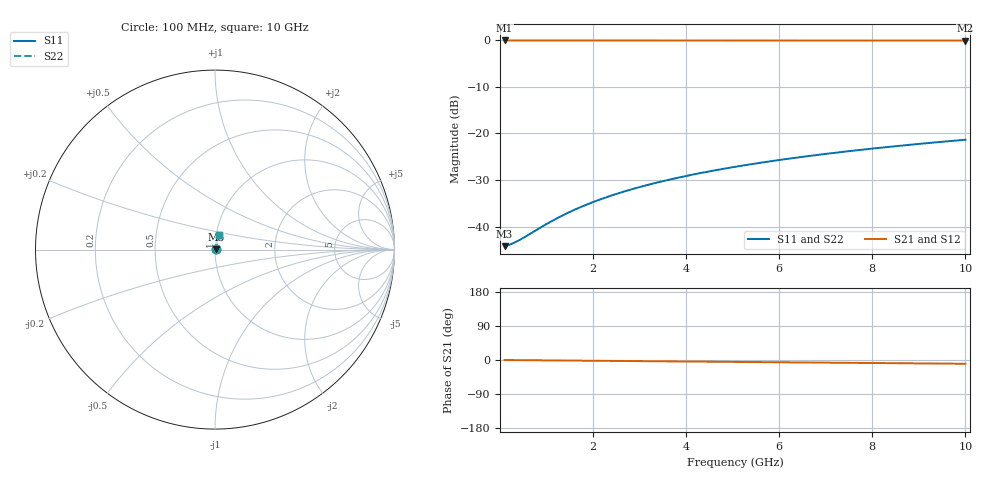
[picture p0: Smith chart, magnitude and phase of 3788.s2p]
# Hz S RI R 50.00
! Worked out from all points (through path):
!   100 points, 100 MHz to 10 GHz, reference 50 ohm
!   highest |S21| = -0.05 dB at 100 MHz (marker M1); lowest = -0.1 dB at 10 GHz (marker M2)
!   group delay of S21, straight-line fit = 2.75 ps
!   lowest |S11| = -44.2 dB at 100 MHz (marker M3), VSWR 1.01, Z = 50.6 + j0.0859 ohm
!   |S11| at or under -10 dB: start of sweep to end of sweep
!   |S22| runs from -44.2 to -21.4 dB; largest |S21 - S12| = 0
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1e8  0.00611 0.000848  0.9939 -0.00172  0.9939 -0.00172  0.00611 0.000848
2e8  0.00615 0.0017  0.9938 -0.00345  0.9938 -0.00345  0.00615 0.0017
3e8  0.00619 0.00254  0.9938 -0.00517  0.9938 -0.00517  0.00619 0.00254
4e8  0.00622 0.00339  0.9938 -0.00689  0.9938 -0.00689  0.00622 0.00339
1e9  0.00644 0.00848  0.9935 -0.0172  0.9935 -0.0172  0.00644 0.00848
1.2e9  0.00652 0.0102  0.9934 -0.0207  0.9934 -0.0207  0.00652 0.0102
1.5e9  0.00667 0.0127  0.9932 -0.0258  0.9932 -0.0258  0.00667 0.0127
1.8e9  0.00685 0.0152  0.993 -0.031  0.993 -0.031  0.00685 0.0152
2.1e9  0.00704 0.0178  0.9928 -0.0362  0.9928 -0.0362  0.00704 0.0178
2.5e9  0.00734 0.0212  0.9924 -0.043  0.9924 -0.043  0.00734 0.0212
2.9e9  0.00768 0.0245  0.992 -0.0499  0.992 -0.0499  0.00768 0.0245
3.4e9  0.00818 0.0287  0.9914 -0.0585  0.9914 -0.0585  0.00818 0.0287
3.8e9  0.00862 0.0321  0.9908 -0.0654  0.9908 -0.0654  0.00862 0.0321
4.2e9  0.00911 0.0354  0.9902 -0.0722  0.9902 -0.0722  0.00911 0.0354
4.6e9  0.00965 0.0388  0.9895 -0.079  0.9895 -0.079  0.00965 0.0388
5.1e9  0.0104 0.0429  0.9886 -0.0876  0.9886 -0.0876  0.0104 0.0429
5.9e9  0.0117 0.0496  0.9869 -0.1012  0.9869 -0.1012  0.0117 0.0496
6.7e9  0.0132 0.0562  0.985 -0.1148  0.985 -0.1148  0.0132 0.0562
7.5e9  0.0149 0.0627  0.9829 -0.1284  0.9829 -0.1284  0.0149 0.0627
8.4e9  0.017 0.07  0.9802 -0.1436  0.9802 -0.1436  0.017 0.07
9.2e9  0.0191 0.0764  0.9776 -0.157  0.9776 -0.157  0.0191 0.0764
1e10  0.0213 0.0828  0.9748 -0.1704  0.9748 -0.1704  0.0213 0.0828
